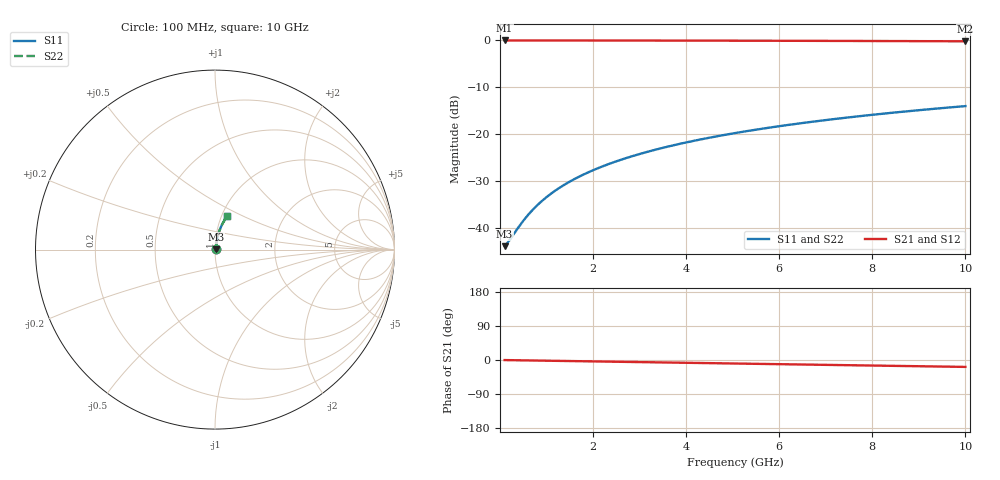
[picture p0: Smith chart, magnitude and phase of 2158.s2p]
# Hz S RI R 50.00
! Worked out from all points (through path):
!   100 points, 100 MHz to 10 GHz, reference 50 ohm
!   highest |S21| = -0.05 dB at 100 MHz (marker M1); lowest = -0.2 dB at 10 GHz (marker M2)
!   group delay of S21, straight-line fit = 5.07 ps
!   lowest |S11| = -43.8 dB at 100 MHz (marker M3), VSWR 1.01, Z = 50.6 + j0.205 ohm
!   |S11| at or under -10 dB: start of sweep to end of sweep
!   |S22| runs from -43.8 to -14.0 dB; largest |S21 - S12| = 0
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1e8  0.00611 0.00203  0.9939 -0.0032  0.9939 -0.0032  0.00611 0.00203
2e8  0.00617 0.00405  0.9938 -0.00639  0.9938 -0.00639  0.00617 0.00405
4e8  0.0063 0.0081  0.9937 -0.0128  0.9937 -0.0128  0.0063 0.0081
5e8  0.00638 0.0101  0.9936 -0.016  0.9936 -0.016  0.00638 0.0101
6e8  0.00647 0.0121  0.9935 -0.0192  0.9935 -0.0192  0.00647 0.0121
7e8  0.00657 0.0142  0.9934 -0.0224  0.9934 -0.0224  0.00657 0.0142
9e8  0.0068 0.0182  0.9931 -0.0287  0.9931 -0.0287  0.0068 0.0182
1.1e9  0.00709 0.0223  0.9928 -0.0351  0.9928 -0.0351  0.00709 0.0223
1.3e9  0.00742 0.0263  0.9924 -0.0415  0.9924 -0.0415  0.00742 0.0263
1.5e9  0.00781 0.0303  0.992 -0.0479  0.992 -0.0479  0.00781 0.0303
1.8e9  0.00848 0.0363  0.9913 -0.0574  0.9913 -0.0574  0.00848 0.0363
2.1e9  0.00926 0.0424  0.9904 -0.0669  0.9904 -0.0669  0.00926 0.0424
2.5e9  0.0105 0.0504  0.9891 -0.0796  0.9891 -0.0796  0.0105 0.0504
2.9e9  0.0119 0.0583  0.9875 -0.0923  0.9875 -0.0923  0.0119 0.0583
3.4e9  0.014 0.0682  0.9852 -0.108  0.9852 -0.108  0.014 0.0682
4.2e9  0.0179 0.0838  0.9808 -0.133  0.9808 -0.133  0.0179 0.0838
5.1e9  0.0233 0.1011  0.9749 -0.1609  0.9749 -0.1609  0.0233 0.1011
5.9e9  0.0289 0.1161  0.9687 -0.1853  0.9687 -0.1853  0.0289 0.1161
6.7e9  0.0352 0.1308  0.9616 -0.2094  0.9616 -0.2094  0.0352 0.1308
7.5e9  0.0422 0.1451  0.9538 -0.2331  0.9538 -0.2331  0.0422 0.1451
8.4e9  0.0509 0.1606  0.9441 -0.2593  0.9441 -0.2593  0.0509 0.1606
1e10  0.0684 0.1868  0.9245 -0.3045  0.9245 -0.3045  0.0684 0.1868
